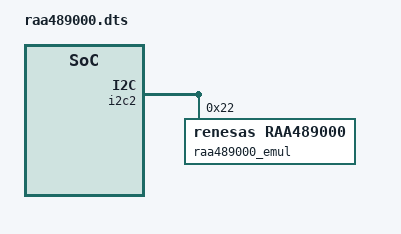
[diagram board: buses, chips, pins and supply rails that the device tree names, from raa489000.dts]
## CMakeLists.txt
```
# Copyright 2024 The ChromiumOS Authors
# Use of this source code is governed by a BSD-style license that can be
# found in the LICENSE file.

# Add source files
target_sources(app PRIVATE src/raa489000.c)
```

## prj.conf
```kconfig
# Copyright 2025 The ChromiumOS Authors
# Use of this source code is governed by a BSD-style license that can be
# found in the LICENSE file.

CONFIG_PLATFORM_EC_USB_PD_TCPM_RAA489000=y
```

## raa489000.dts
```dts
/* Copyright 2024 The ChromiumOS Authors
 * Use of this source code is governed by a BSD-style license that can be
 * found in the LICENSE file.
 */

#include <dt-bindings/usb_pd_tcpm.h>

/ {
	usbc {
		port0@0 {
			compatible = "named-usbc-port";
			tcpc = <&raa489000_emul>;
		};
	};
};

&i2c2 {
	status="okay";

	raa489000_emul: raa489000@22 {
		compatible = "renesas,raa489000";
		status = "okay";
		reg = <0x22>;
		tcpc-flags = <(
			TCPC_FLAGS_TCPCI_REV2_0 |
			TCPC_FLAGS_VBUS_MONITOR)>;
	};
};
```

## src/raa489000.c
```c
/* Copyright 2025 The ChromiumOS Authors
 * Use of this source code is governed by a BSD-style license that can be
 * found in the LICENSE file.
 */

#include "driver/tcpm/raa489000.h"
#include "driver/tcpm/tcpci.h"
#include "ec_commands.h"
#include "emul/tcpc/emul_raa489000.h"
#include "emul/tcpc/emul_tcpci.h"
#include "test/drivers/tcpci_test_common.h"
#include "test/drivers/test_state.h"
#include "test/drivers/utils.h"
#include "usb_pd.h"
#include "usb_pd_tcpm.h"

#include <zephyr/drivers/emul.h>
#include <zephyr/fff.h>
#include <zephyr/ztest.h>

#define RAA489000_PORT 0
#define RAA489000_EMUL_NODE DT_NODELABEL(raa489000_emul)

FAKE_VALUE_FUNC(bool, pd_vbus_valid_for_bist, int);

ZTEST(tcpc_raa489000, test_check_vendor)
{
	int v;

	zassert_ok(tcpc_read16(RAA489000_PORT, TCPC_REG_VENDOR_ID, &v));
	zassert_equal(v, 0x45b);

	tcpm_dump_registers(RAA489000_PORT);
}

void raa489000_get_rx_message_raw(const struct emul *emul,
				  struct i2c_common_emul_data *common_data,
				  enum usbc_port port)
{
	const struct tcpm_drv *drv = tcpc_config[port].drv;
	struct tcpci_emul_msg msg;
	uint32_t payload[1];
	/* bist mode message header and payload
	 *
	 * TODO(b/359666332): A BIST Test Data message should have 7 data
	 * objects, although this should not affect the results of this test.
	 */
	uint16_t input_header = PD_HEADER(PD_DATA_BIST, PD_ROLE_SINK,
					  PD_ROLE_UFP, /*msg_id=*/0, /*cnt=*/1,
					  /*rev=*/PD_REV30,
					  /*ext=*/false);
	uint32_t input_bdo = BDO(BDO_MODE_TEST_DATA, 0);
	uint8_t buf[sizeof(input_header) + sizeof(input_bdo)];

	*(uint16_t *)buf = input_header;
	*(uint32_t *)(buf + sizeof(input_header)) = input_bdo;

	int head;
	bool bist_enabled;

	RESET_FAKE(pd_vbus_valid_for_bist);
	pd_vbus_valid_for_bist_fake.return_val = true;

	tcpci_emul_set_reg(emul, TCPC_REG_RX_DETECT,
			   TCPC_REG_RX_DETECT_SOP | TCPC_REG_RX_DETECT_SOPP);

	msg.buf = buf;
	msg.cnt = 31;
	msg.sop_type = TCPCI_MSG_SOP;
	zassert_equal(TCPCI_EMUL_TX_SUCCESS,
		      tcpci_emul_add_rx_msg(emul, &msg, true),
		      "Failed to setup emulator message");

	/* Test fail on reading message */
	i2c_common_emul_set_read_fail_reg(common_data, TCPC_REG_RX_BUFFER);
	zassert_equal(EC_ERROR_UNKNOWN,
		      drv->get_message_raw(port, payload, &head), NULL);
	i2c_common_emul_set_read_fail_reg(common_data,
					  I2C_COMMON_EMUL_NO_FAIL_REG);

	/* Test bist mode true */
	msg.buf = buf;
	msg.cnt = sizeof(buf);
	msg.sop_type = TCPCI_MSG_SOP;
	zassert_equal(TCPCI_EMUL_TX_SUCCESS,
		      tcpci_emul_add_rx_msg(emul, &msg, true),
		      "Failed to setup emulator message");

	zassert_equal(EC_SUCCESS, drv->set_bist_test_mode(port, false));
	zassert_equal(EC_SUCCESS, drv->get_message_raw(port, payload, &head),
		      NULL);
	zassert_equal(EC_SUCCESS, drv->get_bist_test_mode(port, &bist_enabled),
		      NULL);
	zassert_true(bist_enabled, "BIST mode should be enabled");

	/* Test bist mode already true */
	zassert_equal(TCPCI_EMUL_TX_SUCCESS,
		      tcpci_emul_add_rx_msg(emul, &msg, true),
		      "Failed to setup emulator message");

	zassert_equal(EC_SUCCESS, drv->set_bist_test_mode(port, true));
	zassert_equal(EC_SUCCESS, drv->get_message_raw(port, payload, &head),
		      NULL);
	zassert_equal(EC_SUCCESS, drv->get_bist_test_mode(port, &bist_enabled),
		      NULL);
	zassert_true(bist_enabled, "BIST mode should be enabled");
}

ZTEST(tcpc_raa489000, test_raa489000_get_rx_message_raw)
{
	const struct emul *raa489000_emul = EMUL_DT_GET(RAA489000_EMUL_NODE);
	struct i2c_common_emul_data *common_data =
		emul_tcpci_generic_get_i2c_common_data(raa489000_emul);

	/* set battery level to avoid entering low battery status */
	test_set_battery_level(75);

	raa489000_get_rx_message_raw(raa489000_emul, common_data,
				     RAA489000_PORT);
}

ZTEST_SUITE(tcpc_raa489000, drivers_predicate_post_main, NULL, NULL, NULL,
	    NULL);
```
